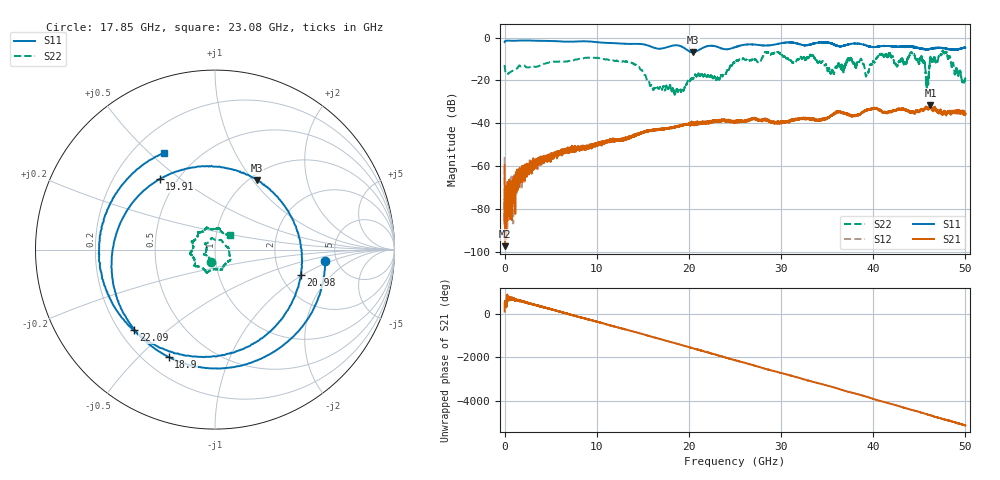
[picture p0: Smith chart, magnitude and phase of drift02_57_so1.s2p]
!Created with skrf (http://scikit-rf.org).
# Hz S RI R 50.0
!freq ReS11 ImS11 ReS21 ImS21 ReS12 ImS12 ReS22 ImS22
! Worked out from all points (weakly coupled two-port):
!   10001 points, 300 kHz to 50 GHz, reference 50 ohm
!   highest |S21| = -31.62 dB at 46.21 GHz (marker M1); lowest = -97.3 dB at 50.3 MHz (marker M2)
!   lowest |S11| = -6.9 dB at 20.41 GHz (marker M3), VSWR 2.64, Z = 54 + j52.4 ohm
!   |S11| at or under -10 dB: nowhere
!   |S22| runs from -26.8 to -6.0 dB; largest |S21 - S12| = 0.0028
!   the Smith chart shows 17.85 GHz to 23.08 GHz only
!   S11 on the Smith chart (normalised r, x): 17.85 GHz: 4.03, -0.86; 18.9 GHz: 0.30, -0.62; 19.91 GHz: 0.40, +0.42; 20.98 GHz: 2.57, -0.96; 22.09 GHz: 0.26, -0.39; 23.08 GHz: 0.32, +0.56
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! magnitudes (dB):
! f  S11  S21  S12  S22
! 300 kHz  -2.1  -59.4  -55.6  -12.8
! 50.3 MHz  -1.6  -97.3  -79.9  -14.9
! 270.3 MHz  -1.4  -72.6  -75.2  -17.0
! 3.235 GHz  -1.5  -59.0  -58.2  -13.6
! 8.335 GHz  -1.7  -52.1  -51.9  -9.7
! 13.71 GHz  -3.0  -46.3  -46.3  -11.7
! 16.67 GHz  -5.2  -42.9  -42.8  -23.7
! 17.85 GHz  -4.2  -42.5  -42.2  -22.8
! 18.9 GHz  -3.7  -41.2  -41.4  -24.0
! 19.91 GHz  -6.0  -40.3  -40.5  -19.9
! 20.41 GHz  -6.9  -40.6  -39.9  -19.0
! 20.98 GHz  -6.1  -40.3  -39.9  -16.8
! 22.09 GHz  -3.9  -39.7  -39.5  -17.6
! 23.08 GHz  -4.3  -38.8  -38.6  -18.9
! 25 GHz  -4.5  -39.0  -39.4  -11.6
! 33.34 GHz  -3.0  -38.0  -37.8  -8.4
! 39.33 GHz  -3.8  -33.9  -33.8  -16.7
! 41.67 GHz  -3.9  -34.6  -34.7  -7.8
! 45.86 GHz  -5.4  -32.7  -33.1  -19.9
! 46.21 GHz  -5.3  -31.6  -31.7  -8.9
! 47.75 GHz  -5.0  -34.4  -34.7  -7.3
! 50 GHz  -4.7  -35.4  -35.6  -18.7
